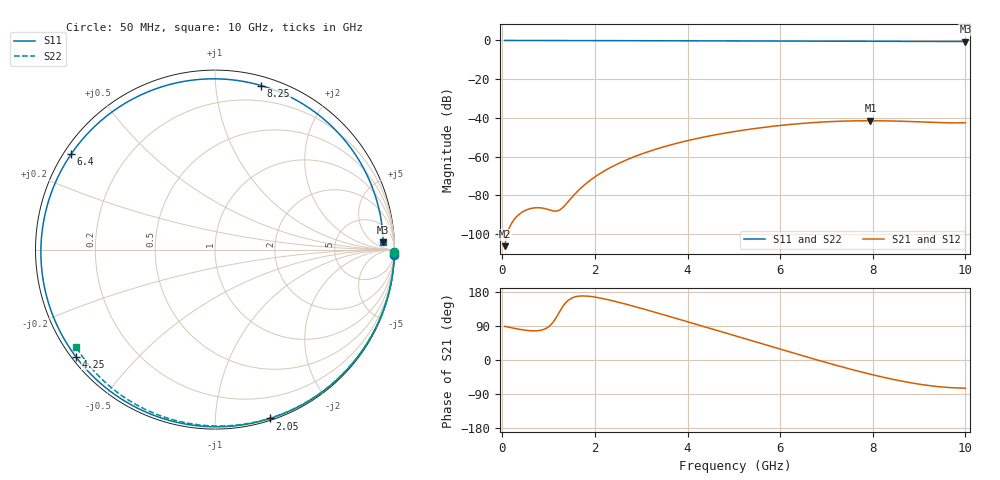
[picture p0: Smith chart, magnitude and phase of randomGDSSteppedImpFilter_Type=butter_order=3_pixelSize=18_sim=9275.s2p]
! freq	dB(S11)	phase(S11)	dB(S12)	phase(S12)
!  dB(S21)	phase(S21)	dB(S22)	phase(S22)
!S-par simulation data
#  GHz  S  DB  R 50
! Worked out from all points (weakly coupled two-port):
!   200 points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, 50 MHz to 10 GHz, reference 50 ohm
!   highest |S21| = -41.45 dB at 7.95 GHz (marker M1); lowest = -106.2 dB at 50 MHz (marker M2)
!   lowest |S11| = -0.6 dB at 10 GHz (marker M3), VSWR 31.51, Z = 1.08e+03 + j733 ohm
!   |S11| at or under -10 dB: nowhere
!   |S22| runs from -0.5 to 0.0 dB; largest |S21 - S12| = 0
!   S11 on the Smith chart (normalised r, x): 50 MHz: 0, -63; 2.05 GHz: 0.01, -1.38; 4.25 GHz: 0.01, -0.34; 6.4 GHz: 0.02, +0.30; 8.25 GHz: 0.07, +1.32; 10 GHz: 22, +15
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0.05  -0.00 -1.8  -106.23 88.8  -106.23 88.8  -0.00 -0.8
0.4  -0.02 -14.4  -89.11 80.3  -89.11 80.3  -0.01 -6.7
0.75  -0.03 -26.9  -86.37 77.1  -86.37 77.1  -0.02 -12.6
1.5  -0.07 -53.2  -81.07 163.4  -81.07 163.4  -0.03 -24.9
1.55  -0.07 -55.0  -79.74 165.8  -79.74 165.8  -0.03 -25.8
1.75  -0.08 -61.8  -75.08 169.0  -75.08 169.0  -0.04 -29.0
2.05  -0.09 -71.9  -69.65 165.0  -69.65 165.0  -0.04 -33.9
2.7  -0.12 -93.3  -61.50 146.3  -61.50 146.3  -0.06 -44.2
3.4  -0.15 -115.7  -55.54 122.4  -55.54 122.4  -0.07 -55.1
4.25  -0.19 -142.5  -50.40 92.0  -50.40 92.0  -0.10 -67.9
5.05  -0.24 -167.9  -46.89 62.9  -46.89 62.9  -0.12 -79.5
5.75  -0.29 169.0  -44.58 37.5  -44.58 37.5  -0.15 -89.4
6.4  -0.34 146.4  -42.99 14.2  -42.99 14.2  -0.18 -98.3
6.7  -0.36 135.4  -42.44 3.6  -42.44 3.6  -0.20 -102.3
7.35  -0.40 110.7  -41.66 -18.6  -41.66 -18.6  -0.24 -110.9
7.95  -0.44 86.6  -41.45 -37.6  -41.45 -37.6  -0.28 -118.7
8.25  -0.45 74.3  -41.51 -46.1  -41.51 -46.1  -0.31 -122.5
8.35  -0.46 70.1  -41.55 -48.8  -41.55 -48.8  -0.32 -123.8
8.75  -0.47 53.4  -41.81 -58.6  -41.81 -58.6  -0.35 -128.9
9.2  -0.50 34.6  -42.20 -67.3  -42.20 -67.3  -0.40 -134.6
9.6  -0.52 18.3  -42.52 -72.3  -42.52 -72.3  -0.44 -139.7
10  -0.55 2.5  -42.48 -74.3  -42.48 -74.3  -0.49 -144.8
